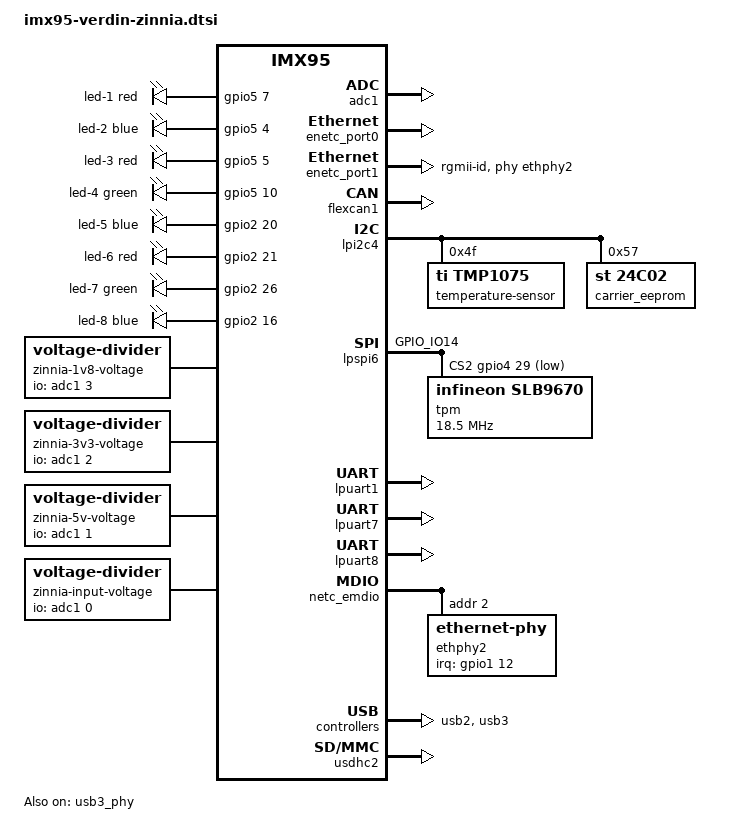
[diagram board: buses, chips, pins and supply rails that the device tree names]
// SPDX-License-Identifier: GPL-2.0-or-later OR MIT
/*
 * Copyright (c) Toradex
 *
 * Common dtsi for Verdin iMX95 SoM on Zinnia carrier board
 *
 * https://www.toradex.com/computer-on-modules/verdin-arm-family/nxp-imx95
 * https://www.toradex.com/products/carrier-board/zinnia-carrier-board
 */

#include <dt-bindings/leds/common.h>
#include <dt-bindings/net/ti-dp83867.h>

/ {
	aliases {
		eeprom1 = &carrier_eeprom;
	};

	leds {
		compatible = "gpio-leds";
		pinctrl-names = "default";
		pinctrl-0 = <&pinctrl_zinnia_leds>;

		/* LED1 Red - SODIMM 48 - LED1_R */
		led-1 {
			color = <LED_COLOR_ID_RED>;
			default-state = "off";
			function = LED_FUNCTION_STATUS;
			function-enumerator = <1>;
			gpios = <&gpio5 7 GPIO_ACTIVE_HIGH>;
		};

		/* LED1 Blue - SODIMM 46 - LED1_B */
		led-2 {
			color = <LED_COLOR_ID_BLUE>;
			default-state = "off";
			function = LED_FUNCTION_STATUS;
			function-enumerator = <1>;
			gpios = <&gpio5 4 GPIO_ACTIVE_HIGH>;
		};

		/* LED3 Red - SODIMM 44 - LED3_R */
		led-3 {
			color = <LED_COLOR_ID_RED>;
			default-state = "off";
			function = LED_FUNCTION_STATUS;
			function-enumerator = <3>;
			gpios = <&gpio5 5 GPIO_ACTIVE_HIGH>;
		};

		/* LED3 Green - SODIMM 54 - LED3_G */
		led-4 {
			color = <LED_COLOR_ID_GREEN>;
			default-state = "off";
			function = LED_FUNCTION_STATUS;
			function-enumerator = <3>;
			gpios = <&gpio5 10 GPIO_ACTIVE_HIGH>;
		};

		/* LED3 Blue - SODIMM 36 - LED3_B */
		led-5 {
			color = <LED_COLOR_ID_BLUE>;
			default-state = "off";
			function = LED_FUNCTION_STATUS;
			function-enumerator = <3>;
			gpios = <&gpio2 20 GPIO_ACTIVE_HIGH>;
		};

		/* LED4 Red - SODIMM 34 - LED4_R */
		led-6 {
			color = <LED_COLOR_ID_RED>;
			default-state = "off";
			function = LED_FUNCTION_STATUS;
			function-enumerator = <4>;
			gpios = <&gpio2 21 GPIO_ACTIVE_HIGH>;
		};

		/* LED4 Green - SODIMM 32 - LED4_G */
		led-7 {
			color = <LED_COLOR_ID_GREEN>;
			default-state = "off";
			function = LED_FUNCTION_STATUS;
			function-enumerator = <4>;
			gpios = <&gpio2 26 GPIO_ACTIVE_HIGH>;
		};

		/* LED4 Blue - SODIMM 30 - LED4_B */
		led-8 {
			color = <LED_COLOR_ID_BLUE>;
			default-state = "off";
			function = LED_FUNCTION_STATUS;
			function-enumerator = <4>;
			gpios = <&gpio2 16 GPIO_ACTIVE_HIGH>;
		};
	};

	/* Zinnia Power Supply Input Voltage */
	zinnia-1v8-voltage {
		compatible = "voltage-divider";
		full-ohms = <39000>; /* 12k + 27k */
		/* Verdin ADC_4 */
		io-channels = <&adc1 3>;
		output-ohms = <27000>;
	};

	zinnia-3v3-voltage {
		compatible = "voltage-divider";
		full-ohms = <54000>; /* 27k + 27k */
		/* Verdin ADC_3 */
		io-channels = <&adc1 2>;
		output-ohms = <27000>;
	};

	zinnia-5v-voltage {
		compatible = "voltage-divider";
		full-ohms = <39000>; /* 27k + 12k */
		/* Verdin ADC_2 */
		io-channels = <&adc1 1>;
		output-ohms = <12000>;
	};

	zinnia-input-voltage {
		compatible = "voltage-divider";
		full-ohms = <204700>; /* 200k + 4.7k */
		/* Verdin ADC_1 */
		io-channels = <&adc1 0>;
		output-ohms = <4700>;
	};
};

/* Verdin ADC_1, ADC_2, ADC_3 and ADC_4 */
&adc1 {
	status = "okay";
};

/* Verdin ETH_1 (On-module PHY) */
&enetc_port0 {
	status = "okay";
};

/* Verdin ETH_2_RGMII */
&enetc_port1 {
	phy-handle = <&ethphy2>;
	phy-mode = "rgmii-id";

	status = "okay";
};

/* Verdin CAN_1 */
&flexcan1 {
	status = "okay";
};

&gpio1 {
	gpio-line-names =
		"",
		"",
		"",
		"",
		"",
		"",
		"",
		"",
		"",
		"",
		"", /* 10 */
		"",
		"",
		"",
		"",
		"";
};

&gpio2 {
	pinctrl-names = "default";
	pinctrl-0 = <&pinctrl_gpio1>, <&pinctrl_gpio2>, <&pinctrl_gpio3>;
	gpio-line-names =
		"DO1_EN", /* SODIMM 206 */ /* 0 */
		"",
		"",
		"",
		"",
		"",
		"",
		"",
		"",
		"",
		"", /* 10 */
		"",
		"",
		"",
		"",
		"",
		"",
		"",
		"DI1_EN", /* SODIMM 208 */
		"",
		"", /* 20 */
		"",
		"",
		"",
		"DI1_RB", /* SODIMM 210 */
		"",
		"",
		"",
		"",
		"",
		"", /* 30 */
		"";
};

&gpio3 {
	pinctrl-names = "default";
	pinctrl-0 = <&pinctrl_gpio6>;
	gpio-line-names =
		"", /* 0 */
		"",
		"",
		"",
		"",
		"",
		"",
		"",
		"",
		"",
		"", /* 10 */
		"",
		"",
		"",
		"",
		"",
		"",
		"",
		"",
		"",
		"", /* 20 */
		"",
		"",
		"",
		"",
		"",
		"",
		"DI2_EN", /* SODIMM 218 */
		"",
		"",
		"", /* 30 */
		"";
};

&gpio4 {
	pinctrl-names = "default";
	pinctrl-0 = <&pinctrl_gpio5>;
	gpio-line-names =
		"",
		"",
		"",
		"",
		"",
		"",
		"",
		"",
		"",
		"",
		"", /* 10 */
		"",
		"",
		"",
		"",
		"",
		"",
		"",
		"",
		"",
		"", /* 20 */
		"",
		"",
		"",
		"",
		"",
		"",
		"",
		"DI2_RB", /* SODIMM 216 */
		"";
};

&gpio5 {
	pinctrl-names = "default";
	pinctrl-0 = <&pinctrl_gpio4>, <&pinctrl_qspi1_io0_gpio>;
	gpio-line-names =
		"DI3_RB", /* SODIMM 56 */ /* 0 */
		"",
		"",
		"",
		"",
		"",
		"",
		"",
		"",
		"",
		"", /* 10 */
		"",
		"DO2_EN", /* SODIMM 212 */
		"",
		"",
		"",
		"",
		"";
};

/* Verdin I2C_1 */
&lpi2c4 {
	status = "okay";

	temperature-sensor@4f {
		compatible = "ti,tmp1075";
		reg = <0x4f>;
	};

	carrier_eeprom: eeprom@57 {
		compatible = "st,24c02", "atmel,24c02";
		reg = <0x57>;
		pagesize = <16>;
	};
};

/* Verdin SPI_1 */
&lpspi6 {
	pinctrl-names = "default";
	pinctrl-0 = <&pinctrl_lpspi6>,
		    <&pinctrl_spi1_cs>,
		    <&pinctrl_uart8_cts_gpio>;
	cs-gpios = <&gpio2 14 GPIO_ACTIVE_LOW>,
		   <&som_gpio_expander 13 GPIO_ACTIVE_LOW>,
		   <&gpio4 29 GPIO_ACTIVE_LOW>;

	tpm@2 {
		compatible = "infineon,slb9670", "tcg,tpm_tis-spi";
		reg = <2>;
		spi-max-frequency = <18500000>;
	};
};

/* Verdin UART_3, used as the Linux console */
&lpuart1 {
	status = "okay";
};

/* Verdin UART_1 */
&lpuart7 {
	status = "okay";
};

/* Verdin UART_2, through RS485 transceiver */
&lpuart8 {
	pinctrl-names = "default";
	pinctrl-0 = <&pinctrl_uart8>, <&pinctrl_uart8_rts>;
	rs485-rx-during-tx;
	linux,rs485-enabled-at-boot-time;

	status = "okay";
};

&netc_emdio {
	ethphy2: ethernet-phy@2 {
		reg = <2>;
		pinctrl-names = "default";
		pinctrl-0 = <&pinctrl_eth2_rgmii_int>;
		interrupt-parent = <&gpio1>;
		interrupts = <12 IRQ_TYPE_LEVEL_LOW>;
		ti,rx-internal-delay = <DP83867_RGMIIDCTL_2_00_NS>;
		ti,tx-internal-delay = <DP83867_RGMIIDCTL_2_00_NS>;
	};
};

&som_gpio_expander {
	gpio-line-names =
		"DO3_EN", /* SODIMM 220 */
		"DI3_EN", /* SODIMM 222 */
		"",
		"",
		"",
		"",
		"",
		"",
		"",
		"",
		"", /* 10 */
		"",
		"",
		"",
		"",
		"";
};

/* Verdin USB_1 */
&usb2 {
	status = "okay";
};

/* Verdin USB_2 */
&usb3 {
	status = "okay";
};

&usb3_phy {
	status = "okay";
};

/* Verdin SD_1 */
&usdhc2 {
	status = "okay";
};

&scmi_iomuxc {
	pinctrl_uart8_cts_gpio: uart8ctsgrp {
		fsl,pins = <IMX95_PAD_GPIO_IO14__GPIO2_IO_BIT14	0x51e>; /* SODIMM 143 */
	};

	pinctrl_zinnia_leds: zinnialedsgrp {
		fsl,pins = <IMX95_PAD_GPIO_IO16__GPIO2_IO_BIT16		0x11e>, /* SODIMM 30 */
			   <IMX95_PAD_GPIO_IO26__GPIO2_IO_BIT26		0x11e>, /* SODIMM 32 */
			   <IMX95_PAD_GPIO_IO21__GPIO2_IO_BIT21		0x11e>, /* SODIMM 34 */
			   <IMX95_PAD_GPIO_IO20__GPIO2_IO_BIT20		0x11e>, /* SODIMM 36 */
			   <IMX95_PAD_XSPI1_DATA5__GPIO5_IO_BIT5	0x11e>, /* SODIMM 44 */
			   <IMX95_PAD_XSPI1_DATA4__GPIO5_IO_BIT4	0x11e>, /* SODIMM 46 */
			   <IMX95_PAD_XSPI1_DATA7__GPIO5_IO_BIT7	0x11e>, /* SODIMM 48 */
			   <IMX95_PAD_XSPI1_SS0_B__GPIO5_IO_BIT10	0x11e>; /* SODIMM 54 */
	};
};
